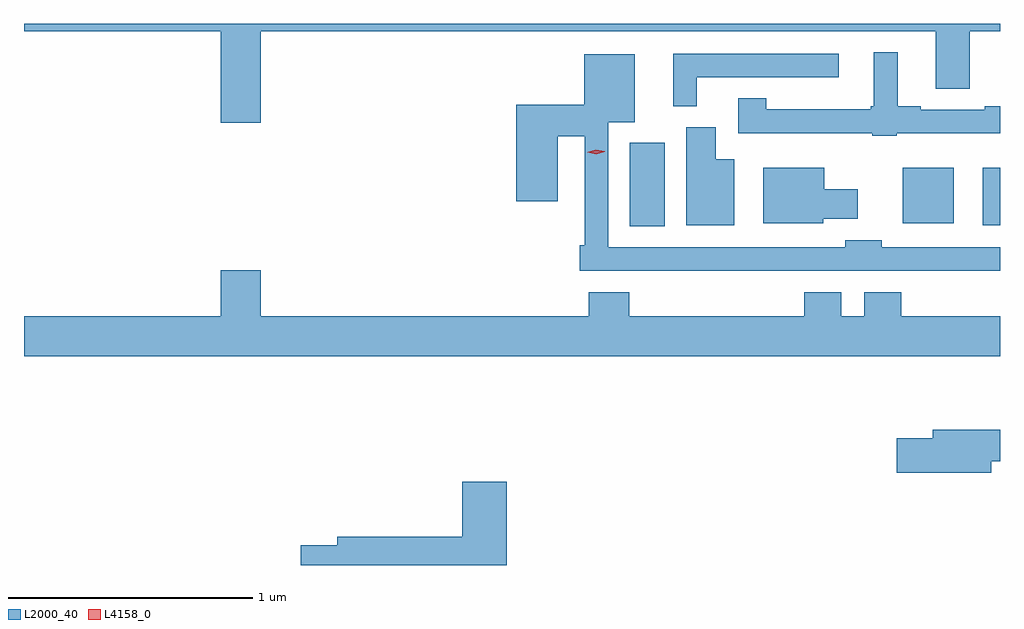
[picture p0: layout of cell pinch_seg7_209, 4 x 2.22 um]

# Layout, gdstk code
import gdstk
lib = gdstk.Library(unit=1e-6, precision=1e-09)
def R(c, l, rs):  # rectangles x0, y0, x1, y1
    for r in rs: c.add(gdstk.rectangle(r[:2], r[2:], *l))
def P(c, l, *ps):  # polygons
    for p in ps: c.add(gdstk.Polygon(p, *l))
L2000_40 = (2000, 40)
L4158_0 = (4158, 0)

pinch_seg7_209 = lib.new_cell('pinch_seg7_209')
R(pinch_seg7_209, L2000_40, [(682.169,1081.069,682.312,1081.411), (683.615,1081.073,683.686,1081.309), (683.288,1081.082,683.497,1081.309)])
P(pinch_seg7_209, L2000_40, [(680.656,1081.868),(683.423,1081.868),(683.423,1081.633),(683.563,1081.633),(683.563,1081.868),(683.686,1081.868),(683.686,1081.9),(679.686,1081.9),(679.686,1081.868),(680.492,1081.868),(680.492,1081.494),(680.656,1081.494)],
  [(683.262,1081.451),(683.686,1081.451),(683.686,1081.561),(683.624,1081.561),(683.624,1081.548),(683.362,1081.548),(683.362,1081.561),(683.266,1081.561),(683.266,1081.783),(683.168,1081.783),(683.168,1081.561),(683.157,1081.561),(683.157,1081.549),(682.727,1081.549),(682.727,1081.595),(682.614,1081.595),(682.614,1081.451),(683.162,1081.451),(683.162,1081.44),(683.262,1081.44)],
  [(682.444,1081.68),(683.026,1081.68),(683.026,1081.776),(682.346,1081.776),(682.346,1081.561),(682.444,1081.561)],
  [(682.799,1080.888),(683.302,1080.888),(683.302,1080.887),(683.686,1080.887),(683.686,1080.984),(683.202,1080.984),(683.202,1081.012),(683.052,1081.012),(683.052,1080.984),(682.08,1080.984),(682.08,1081.496),(682.189,1081.496),(682.189,1081.774),(681.983,1081.774),(681.983,1081.567),(681.704,1081.567),(681.704,1081.173),(681.874,1081.173),(681.874,1081.438),(681.984,1081.438),(681.984,1080.991),(681.964,1080.991),(681.964,1080.888),(682.249,1080.888),(682.249,1080.887),(682.799,1080.887)],
  [(682.597,1081.345),(682.522,1081.345),(682.522,1081.476),(682.4,1081.476),(682.4,1081.073),(682.597,1081.073)],
  [(682.962,1081.1),(683.104,1081.1),(683.104,1081.222),(682.966,1081.222),(682.966,1081.309),(682.715,1081.309),(682.715,1081.082),(682.962,1081.082)],
  [(683.686,1080.7),(683.282,1080.7),(683.282,1080.799),(683.129,1080.799),(683.129,1080.7),(683.035,1080.7),(683.035,1080.799),(682.883,1080.799),(682.883,1080.7),(682.166,1080.7),(682.166,1080.799),(682.001,1080.799),(682.001,1080.7),(680.656,1080.7),(680.656,1080.889),(680.492,1080.889),(680.492,1080.7),(679.686,1080.7),(679.686,1080.536),(683.686,1080.536)],
  [(683.65,1080.106),(683.686,1080.106),(683.686,1080.235),(683.411,1080.235),(683.411,1080.201),(683.262,1080.201),(683.262,1080.059),(683.65,1080.059)],
  [(681.665,1080.022),(681.482,1080.022),(681.482,1079.798),(680.969,1079.798),(680.969,1079.762),(680.82,1079.762),(680.82,1079.68),(681.665,1079.68)])
P(pinch_seg7_209, L4158_0, [(682.031,1081.364),(681.994,1081.372),(681.994,1081.372),(681.994,1081.372),(682.029,1081.384),(682.066,1081.377),(682.066,1081.376),(682.066,1081.376)])

lib.write_gds('pinch_seg7_209.gds')
